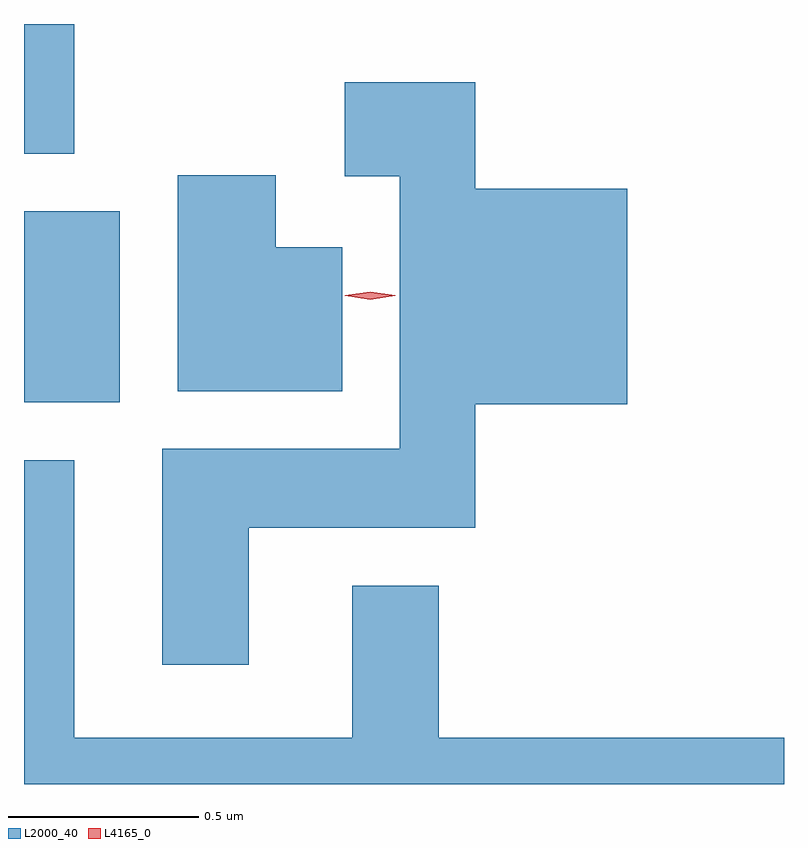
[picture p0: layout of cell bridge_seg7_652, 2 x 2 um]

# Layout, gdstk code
import gdstk
lib = gdstk.Library(unit=1e-6, precision=1e-09)
def R(c, l, rs):  # rectangles x0, y0, x1, y1
    for r in rs: c.add(gdstk.rectangle(r[:2], r[2:], *l))
def P(c, l, *ps):  # polygons
    for p in ps: c.add(gdstk.Polygon(p, *l))
L2000_40 = (2000, 40)
L4165_0 = (4165, 0)

bridge_seg7_652 = lib.new_cell('bridge_seg7_652')
R(bridge_seg7_652, L2000_40, [(822.957,1679.946,823.209,1680.449), (822.957,1680.601,823.089,1680.942)])
P(bridge_seg7_652, L2000_40, [(823.549,1679.616),(824.144,1679.616),(824.144,1679.941),(824.544,1679.941),(824.544,1680.509),(824.144,1680.509),(824.144,1680.789),(823.801,1680.789),(823.801,1680.541),(823.946,1680.541),(823.946,1679.824),(823.321,1679.824),(823.321,1679.256),(823.549,1679.256)],
  [(823.794,1680.354),(823.619,1680.354),(823.619,1680.544),(823.361,1680.544),(823.361,1679.976),(823.794,1679.976)],
  [(824.957,1679.064),(824.049,1679.064),(824.049,1679.464),(823.821,1679.464),(823.821,1679.064),(823.089,1679.064),(823.089,1679.794),(822.957,1679.794),(822.957,1678.942),(824.957,1678.942)])
P(bridge_seg7_652, L4165_0, [(823.868,1680.217),(823.802,1680.227),(823.801,1680.227),(823.802,1680.228),(823.868,1680.237),(823.934,1680.228),(823.934,1680.227),(823.934,1680.227)])

lib.write_gds('bridge_seg7_652.gds')
